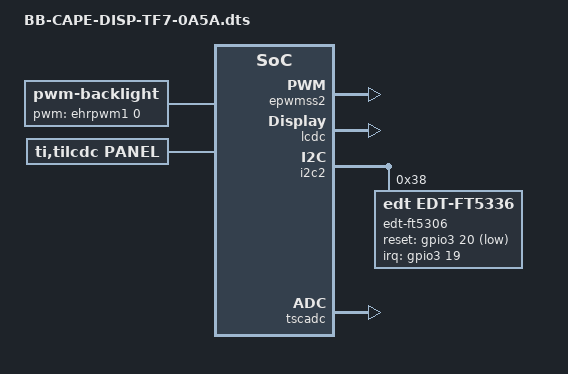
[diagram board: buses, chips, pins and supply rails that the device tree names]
/*
 * Copyright (C) 2012 Texas Instruments Incorporated - http://www.ti.com/
 *
 * This program is free software; you can redistribute it and/or modify
 * it under the terms of the GNU General Public License version 2 as
 * published by the Free Software Foundation.
 */
/dts-v1/;
/plugin/;

#include <dt-bindings/board/am335x-bbw-bbb-base.h>
#include <dt-bindings/gpio/gpio.h>
#include <dt-bindings/pinctrl/am33xx.h>
#include <dt-bindings/interrupt-controller/irq.h>

/ {
	compatible = "ti,beaglebone", "ti,beaglebone-black", "ti,beaglebone-green", "ti,unicron";

	/* identification */
	part-number = "BB-CAPE-DISP-TF7";
	version = "0A5A";

	/* state the resources this cape uses */
	exclusive-use =
		/* the pin header uses */
		"P8.45",	/* lcd: lcd_data0 */
		"P8.46",	/* lcd: lcd_data1 */
		"P8.43",	/* lcd: lcd_data2 */
		"P8.44",	/* lcd: lcd_data3 */
		"P8.41",	/* lcd: lcd_data4 */
		"P8.42",	/* lcd: lcd_data5 */
		"P8.39",	/* lcd: lcd_data6 */
		"P8.40",	/* lcd: lcd_data7 */
		"P8.37",	/* lcd: lcd_data8 */
		"P8.38",	/* lcd: lcd_data9 */
		"P8.36",	/* lcd: lcd_data10 */
		"P8.34",	/* lcd: lcd_data11 */
		"P8.35",	/* lcd: lcd_data12 */
		"P8.33",	/* lcd: lcd_data13 */
		"P8.31",	/* lcd: lcd_data14 */
		"P8.32",	/* lcd: lcd_data15 */

		"P8.15",	/* gpmc: lcd_data16 */
		"P8.16",	/* gpmc: lcd_data17 */
		"P8.11",	/* gpmc: lcd_data18 */
		"P8.12",	/* gpmc: lcd_data19 */
		"P8.17",	/* gpmc: lcd_data20 */
		"P8.14",	/* gpmc: lcd_data21 */
		"P8.13",	/* gpmc: lcd_data22 */
		"P8.19",	/* gpmc: lcd_data23 */

		"P8.27",	/* lcd: lcd_vsync */
		"P8.29",	/* lcd: lcd_hsync */
		"P8.28",	/* lcd: lcd_pclk */
		"P8.30",	/* lcd: lcd_ac_bias_en */

		"P9.25",	/* pwm: mcasp0_ahclkx.gpio3_21 */
		"P9.27",	/* ft5306: gpio3_19 */

		//"P9.19",	/* i2c2_sda */
		//"P9.20",	/* i2c2_scl */

		"P9.91",	/* ft5306: gpio3_20 */

		"lcd",
		"ehrpwm1";

	fragment@0 {
		target = <&am33xx_pinmux>;
		__overlay__ {
			bb_lcd_pwm_backlight_pins: pinmux_bb_lcd_pwm_backlight_pins {
				pinctrl-single,pins = <
					0x1b0 (PIN_OUTPUT_PULLUP | MUX_MODE7)	// xdma_event_intr0.gpio0_19
					BONE_P9_25 (PIN_OUTPUT_PULLUP | MUX_MODE7)	// mcasp0_ahclkx.gpio3_21 
				>;
			};

			bb_lcd_lcd_pins: pinmux_bb_lcd_lcd_pins {
				pinctrl-single,pins = <
					BONE_P8_45 (PIN_OUTPUT | MUX_MODE0) /* lcd_data0.lcd_data0 */
					BONE_P8_46 (PIN_OUTPUT | MUX_MODE0) /* lcd_data1.lcd_data1 */
					BONE_P8_43 (PIN_OUTPUT | MUX_MODE0) /* lcd_data2.lcd_data2 */
					BONE_P8_44 (PIN_OUTPUT | MUX_MODE0) /* lcd_data3.lcd_data3 */
					BONE_P8_41 (PIN_OUTPUT | MUX_MODE0) /* lcd_data4.lcd_data4 */
					BONE_P8_42 (PIN_OUTPUT | MUX_MODE0) /* lcd_data5.lcd_data5 */
					BONE_P8_39 (PIN_OUTPUT | MUX_MODE0) /* lcd_data6.lcd_data6 */
					BONE_P8_40 (PIN_OUTPUT | MUX_MODE0) /* lcd_data7.lcd_data7 */
					BONE_P8_37 (PIN_OUTPUT | MUX_MODE0) /* lcd_data8.lcd_data8 */
					BONE_P8_38 (PIN_OUTPUT | MUX_MODE0) /* lcd_data9.lcd_data9 */
					BONE_P8_36 (PIN_OUTPUT | MUX_MODE0) /* lcd_data10.lcd_data10 */
					BONE_P8_34 (PIN_OUTPUT | MUX_MODE0) /* lcd_data11.lcd_data11 */
					BONE_P8_35 (PIN_OUTPUT | MUX_MODE0) /* lcd_data12.lcd_data12 */
					BONE_P8_33 (PIN_OUTPUT | MUX_MODE0) /* lcd_data13.lcd_data13 */
					BONE_P8_31 (PIN_OUTPUT | MUX_MODE0) /* lcd_data14.lcd_data14 */
					BONE_P8_32 (PIN_OUTPUT | MUX_MODE0) /* lcd_data15.lcd_data15 */

					BONE_P8_15 (PIN_OUTPUT | MUX_MODE1) /* gpmc_ad15.lcd_data16 */
					BONE_P8_16 (PIN_OUTPUT | MUX_MODE1) /* gpmc_ad14.lcd_data17 */
					BONE_P8_11 (PIN_OUTPUT | MUX_MODE1) /* gpmc_ad13.lcd_data18 */
					BONE_P8_12 (PIN_OUTPUT | MUX_MODE1) /* gpmc_ad12.lcd_data19 */
					BONE_P8_17 (PIN_OUTPUT | MUX_MODE1) /* gpmc_ad11.lcd_data20 */
					BONE_P8_14 (PIN_OUTPUT | MUX_MODE1) /* gpmc_ad10.lcd_data21 */
					BONE_P8_13 (PIN_OUTPUT | MUX_MODE1) /* gpmc_ad9.lcd_data22 */
					BONE_P8_19 (PIN_OUTPUT | MUX_MODE1) /* gpmc_ad8.lcd_data23 */

					BONE_P8_27 (PIN_OUTPUT | MUX_MODE0) /* lcd_vsync.lcd_vsync */
					BONE_P8_29 (PIN_OUTPUT | MUX_MODE0) /* lcd_hsync.lcd_hsync */
					BONE_P8_28 (PIN_OUTPUT | MUX_MODE0) /* lcd_pclk.lcd_pclk */
					BONE_P8_30 (PIN_OUTPUT | MUX_MODE0) /* lcd_ac_bias_en.lcd_ac_bias_en */
				>;
			};

/*
			bb_i2c2_pins: pinmux_bb_i2c2_pins {
				pinctrl-single,pins = <
					BONE_P9_19 0x73	// i2c2_sda, SLEWCTRL_SLOW | INPUT_PULLUP | MODE3 
					BONE_P9_20 0x73	// i2c2_scl, SLEWCTRL_SLOW | INPUT_PULLUP | MODE3 
				>;
			};
*/
			edt_ft5306_ts_pins: pinmux_edt_ft5306_ts_pins {
				pinctrl-single,pins = <
					BONE_P9_27 (PIN_INPUT_PULLDOWN | MUX_MODE7) /* mcasp0_fsr.gpio3_19 */
					BONE_P9_41B (PIN_OUTPUT_PULLUP | MUX_MODE7)	/* mcasp0_axr1.gpio3_20 */
				>;
			};
		};
	};

	fragment@1 {
		target = <&epwmss2>;
		__overlay__ {
			status = "okay";
		};
	};
	fragment@2 {
		target = <&lcdc>;
		__overlay__ {
			status = "okay";
		};
	};

	fragment@3 {
		target = <&i2c2>;
		__overlay__ {
			#address-cells = <1>;
			#size-cells = <0>;

			edt-ft5306@38 {
				status = "okay";
				compatible = "edt,edt-ft5336", "edt,edt-ft5306", "edt,edt-ft5x06";
				pinctrl-names = "default";
				pinctrl-0 = <&edt_ft5306_ts_pins>;

				reg = <0x38>;
				interrupt-parent = <&gpio3>;
				interrupts = <19 IRQ_TYPE_EDGE_FALLING>;

				reset-gpios = <&gpio3 20 GPIO_ACTIVE_LOW>;
				//wake-gpios = <&gpio3 21 GPIO_ACTIVE_LOW>;


				touchscreen-size-x = <1024>;
				touchscreen-size-y = <600>;
				touchscreen-swapped-x-y;

			};
		};
	};

	fragment@4 {
		target = <&tscadc>;
		__overlay__ {

			status = "okay";
			tsc {
				ti,wires = <4>;
				ti,x-plate-resistance = <200>;
				ti,coordinate-readouts = <5>;
				ti,wire-config = <0x00 0x11 0x22 0x33>;
			};

			adc {
				ti,adc-channels = <4 5 6 7>;
			};
		};
	};

	fragment@5 {
		target-path="/";
		__overlay__ {

			/* avoid stupid warning */
			#address-cells = <1>;
			#size-cells = <1>;

			backlight {
				status = "okay";
				compatible = "pwm-backlight";
				pinctrl-names = "default";
				pinctrl-0 = <&bb_lcd_pwm_backlight_pins>;
				pwms = <&ehrpwm1 0 500000 0>;
				brightness-levels = <
					0  1  2  3  4  5  6  7  8  9
					10 11 12 13 14 15 16 17 18 19
					20 21 22 23 24 25 26 27 28 29
					30 31 32 33 34 35 36 37 38 39
					40 41 42 43 44 45 46 47 48 49
					50 51 52 53 54 55 56 57 58 59
					60 61 62 63 64 65 66 67 68 69
					70 71 72 73 74 75 76 77 78 79
					80 81 82 83 84 85 86 87 88 89
					90 91 92 93 94 95 96 97 98 99
					100
				>;
				default-brightness-level = <90>;
			};

			panel {
				status = "okay";
				compatible = "ti,tilcdc,panel";
				pinctrl-names = "default";
				pinctrl-0 = <&bb_lcd_lcd_pins>;
				panel-info {
					ac-bias           = <255>;
					ac-bias-intrpt    = <0>;
					dma-burst-sz      = <16>;
					bpp               = <32>;
					fdd               = <0x80>;
					tft-alt-mode      = <0>;
					stn-565-mode      = <0>;
					mono-8bit-mode    = <0>;
					sync-edge         = <0>;
					sync-ctrl         = <1>;
					raster-order      = <0>;
					fifo-th           = <0>;
				};
				/* HJ070NA13A */
				display-timings {
					native-mode = <&timing0>;
					timing0: 1024x600 {
						clock-frequency = <51200000>;
						hactive = <1024>;
						vactive = <600>;
						hfront-porch = <160>;
						hback-porch = <140>;
						hsync-len = <20>;
						vback-porch = <22>;
						vfront-porch = <12>;
						vsync-len = <3>;
						hsync-active = <1>;
						vsync-active  = <1>;
						de-active = <1>;
						pixelclk-active = <0>;
					};
				};
			};
		};
	};
};
